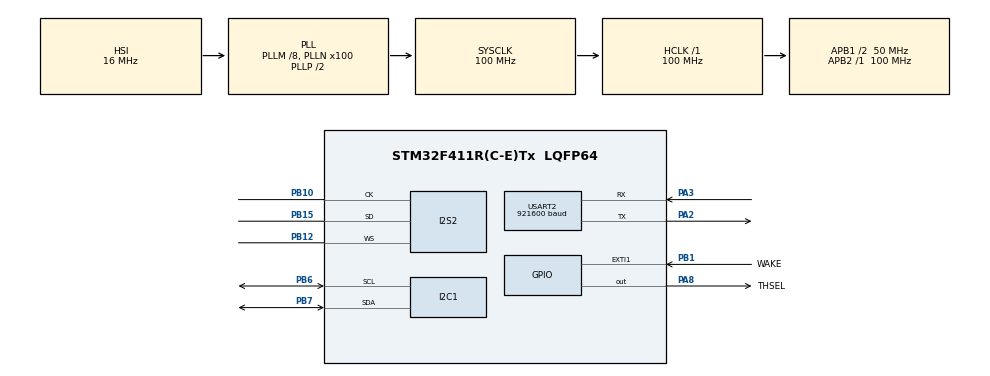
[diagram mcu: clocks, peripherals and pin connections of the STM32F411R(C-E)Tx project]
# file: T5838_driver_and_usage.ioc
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Dma.Request0=SPI2_RX
Dma.Request1=USART2_TX
Dma.SPI2_RX.0.Direction=DMA_PERIPH_TO_MEMORY
Dma.SPI2_RX.0.FIFOMode=DMA_FIFOMODE_DISABLE
Dma.SPI2_RX.0.Instance=DMA1_Stream3
Dma.SPI2_RX.0.MemDataAlignment=DMA_MDATAALIGN_HALFWORD
Dma.SPI2_RX.0.MemInc=DMA_MINC_ENABLE
Dma.SPI2_RX.0.Mode=DMA_CIRCULAR
Dma.SPI2_RX.0.PeriphDataAlignment=DMA_PDATAALIGN_HALFWORD
Dma.SPI2_RX.0.PeriphInc=DMA_PINC_DISABLE
Dma.SPI2_RX.0.Priority=DMA_PRIORITY_LOW
Dma.USART2_TX.1.Direction=DMA_MEMORY_TO_PERIPH
Dma.USART2_TX.1.FIFOMode=DMA_FIFOMODE_DISABLE
Dma.USART2_TX.1.Instance=DMA1_Stream6
Dma.USART2_TX.1.MemDataAlignment=DMA_MDATAALIGN_BYTE
Dma.USART2_TX.1.MemInc=DMA_MINC_ENABLE
Dma.USART2_TX.1.Mode=DMA_NORMAL
Dma.USART2_TX.1.PeriphDataAlignment=DMA_PDATAALIGN_BYTE
Dma.USART2_TX.1.PeriphInc=DMA_PINC_DISABLE
Dma.USART2_TX.1.Priority=DMA_PRIORITY_LOW
I2S2.ErrorAudioFreq=0.0 %
I2S2.FullDuplexMode=I2S_FULLDUPLEXMODE_DISABLE
I2S2.Instance=SPI$Index
I2S2.Mode=I2S_MODE_MASTER_RX
I2S2.RealAudioFreq=8.0 KHz
I2S2.VirtualMode=I2S_MODE_MASTER
Mcu.Family=STM32F4
Mcu.Name=STM32F411R(C-E)Tx
Mcu.Package=LQFP64
NVIC.DMA1_Stream3_IRQn=true\:0\:0\:false\:false\:true\:false\:true\:true
NVIC.DMA1_Stream6_IRQn=true\:0\:0\:false\:false\:true\:false\:true\:true
NVIC.EXTI1_IRQn=true\:0\:0\:false\:false\:true\:true\:true\:true
NVIC.PriorityGroup=NVIC_PRIORITYGROUP_4
PA13.Mode=Serial_Wire
PA13.Signal=SYS_JTMS-SWDIO
PA14.Mode=Serial_Wire
PA14.Signal=SYS_JTCK-SWCLK
PA2.Mode=Asynchronous
PA2.Signal=USART2_TX
PA3.Mode=Asynchronous
PA3.Signal=USART2_RX
PA8.GPIO_Label=THSEL
PA8.Signal=GPIO_Output
PB1.GPIO_Label=WAKE
PB1.GPIO_PuPd=GPIO_PULLDOWN
PB1.Signal=GPXTI1
PB10.Mode=Half_Duplex_Master
PB10.Signal=I2S2_CK
PB12.Mode=Half_Duplex_Master
PB12.Signal=I2S2_WS
PB15.Mode=Half_Duplex_Master
PB15.Signal=I2S2_SD
PB6.Mode=I2C
PB6.Signal=I2C1_SCL
PB7.Mode=I2C
PB7.Signal=I2C1_SDA
ProjectManager.HeapSize=0x200
ProjectManager.StackSize=0x400
ProjectManager.TargetToolchain=STM32CubeIDE
RCC.48MHZClocksFreq_Value=50000000
RCC.AHBFreq_Value=100000000
RCC.APB1CLKDivider=RCC_HCLK_DIV2
RCC.APB1Freq_Value=50000000
RCC.APB1TimFreq_Value=100000000
RCC.APB2Freq_Value=100000000
RCC.APB2TimFreq_Value=100000000
RCC.CortexFreq_Value=100000000
RCC.HCLKFreq_Value=100000000
RCC.HSE_VALUE=25000000
RCC.HSI_VALUE=16000000
RCC.LSE_VALUE=32768
RCC.PLLM=8
RCC.PLLN=100
RCC.SYSCLKFreq_VALUE=100000000
RCC.SYSCLKSource=RCC_SYSCLKSOURCE_PLLCLK
RCC.VCOOutputFreq_Value=200000000
USART2.BaudRate=921600
USART2.VirtualMode=VM_ASYNC
board=custom

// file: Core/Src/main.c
/* USER CODE BEGIN Header */
/**
  ******************************************************************************
  * @file           : main.c
  * @brief          : Main program body
  ******************************************************************************
  * @attention
  *
  * Copyright (c) 2026 STMicroelectronics.
  * All rights reserved.
  *
  * This software is licensed under terms that can be found in the LICENSE file
  * in the root directory of this software component.
  * If no LICENSE file comes with this software, it is provided AS-IS.
  *
  ******************************************************************************
  */
/* USER CODE END Header */
#include "main.h"

/* USER CODE BEGIN Includes */
#include"t5838.h"
#include "stm32f4xx_hal_i2s.h"
#include<stdio.h>
/* USER CODE END Includes */

I2C_HandleTypeDef hi2c1;

I2S_HandleTypeDef hi2s2;
DMA_HandleTypeDef hdma_spi2_rx;

UART_HandleTypeDef huart2;
DMA_HandleTypeDef hdma_usart2_tx;

/* USER CODE BEGIN PV */
T5838_HandleTypeDef hmic1;
volatile uint8_t wake_up_flag = 0;

/* USER CODE END PV */

void SystemClock_Config(void);
static void MX_GPIO_Init(void);
static void MX_DMA_Init(void);
static void MX_I2C1_Init(void);
static void MX_I2S2_Init(void);
static void MX_USART2_UART_Init(void);
/* USER CODE BEGIN PFP */
static void I2S_PLL_Config(void);
/* USER CODE END PFP */

/* USER CODE BEGIN 0 */
extern I2S_HandleTypeDef hi2s2;
extern UART_HandleTypeDef huart2;

int __io_putchar(int ch) {
    HAL_UART_Transmit(&huart2, (uint8_t *)&ch, 1, HAL_MAX_DELAY);
    return ch;
}

/* USER CODE END 0 */

int main(void)
{

  /* MCU Configuration--------------------------------------------------------*/

  /* Reset of all peripherals, Initializes the Flash interface and the Systick. */
  HAL_Init();

  /* Configure the system clock */
  SystemClock_Config();

  /* Initialize all configured peripherals */
  MX_GPIO_Init();
  MX_DMA_Init();
  MX_I2C1_Init();
  MX_I2S2_Init();
  MX_USART2_UART_Init();
  /* USER CODE BEGIN 2 */
  I2S_PLL_Config();   // PLLI2S: 2 MHz * 96 / 4 = 48 MHz catre SPI2

  printf("\r\n=========================================\r\n");
  printf("   Init T5838 PDM Microphone Driver      \r\n");
  printf("=========================================\r\n");

  if (T5838_Init(&hmic1, &hi2s2, &huart2) != HAL_OK) {
      printf("[EROARE] Configurarea T5838 a esuat (continui, pentru test captura)\r\n");
      hmic1.is_initialized = 1;   // permite testul de captura chiar fara ACK
  }

  #define T5838_BOOT_TEST  1      // 1 = forteaza o captura la boot
  #if T5838_BOOT_TEST
  wake_up_flag = 1;
  #endif

  /* USER CODE END 2 */

  /* Infinite loop */
  /* USER CODE BEGIN WHILE */
  while (1)
  {
      if (wake_up_flag) {
          wake_up_flag = 0;
          printf("\r\n[WAKE] Pornire captura PDM...\r\n");

          HAL_StatusTypeDef st = T5838_StartCapture(&hmic1);
          if (st != HAL_OK) {
              printf("[DMA ERROR] cod: %d\r\n", (int)st);
          } else {
              uint32_t t0 = HAL_GetTick();
              while (HAL_GetTick() - t0 < 5000U) T5838_FlushUart(&hmic1);
              T5838_StopRecording(&hmic1);
              while (huart2.gState != HAL_UART_STATE_READY) {}
              printf("\r\n[SLEEP] Captura gata (overrun ring: %lu). AAD D2 reactivat.\r\n",
                     (unsigned long)hmic1.ring_overruns);
          }
          wake_up_flag = 0;    // ignora wake-urile aparute in timpul capturii
      }
      HAL_Delay(10);
    /* USER CODE END WHILE */

  }
}

void SystemClock_Config(void)
{
  RCC_OscInitTypeDef RCC_OscInitStruct = {0};
  RCC_ClkInitTypeDef RCC_ClkInitStruct = {0};

  /** Configure the main internal regulator output voltage
  */
  __HAL_RCC_PWR_CLK_ENABLE();
  __HAL_PWR_VOLTAGESCALING_CONFIG(PWR_REGULATOR_VOLTAGE_SCALE1);

  /** Initializes the RCC Oscillators according to the specified parameters
  * in the RCC_OscInitTypeDef structure.
  */
  RCC_OscInitStruct.OscillatorType = RCC_OSCILLATORTYPE_HSI;
  RCC_OscInitStruct.HSIState = RCC_HSI_ON;
  RCC_OscInitStruct.HSICalibrationValue = RCC_HSICALIBRATION_DEFAULT;
  RCC_OscInitStruct.PLL.PLLState = RCC_PLL_ON;
  RCC_OscInitStruct.PLL.PLLSource = RCC_PLLSOURCE_HSI;
  RCC_OscInitStruct.PLL.PLLM = 8;
  RCC_OscInitStruct.PLL.PLLN = 100;
  RCC_OscInitStruct.PLL.PLLP = RCC_PLLP_DIV2;
  RCC_OscInitStruct.PLL.PLLQ = 4;
  if (HAL_RCC_OscConfig(&RCC_OscInitStruct) != HAL_OK)
  {
    Error_Handler();
  }

  /** Initializes the CPU, AHB and APB buses clocks
  */
  RCC_ClkInitStruct.ClockType = RCC_CLOCKTYPE_HCLK|RCC_CLOCKTYPE_SYSCLK
                              |RCC_CLOCKTYPE_PCLK1|RCC_CLOCKTYPE_PCLK2;
  RCC_ClkInitStruct.SYSCLKSource = RCC_SYSCLKSOURCE_PLLCLK;
  RCC_ClkInitStruct.AHBCLKDivider = RCC_SYSCLK_DIV1;
  RCC_ClkInitStruct.APB1CLKDivider = RCC_HCLK_DIV2;
  RCC_ClkInitStruct.APB2CLKDivider = RCC_HCLK_DIV1;

  if (HAL_RCC_ClockConfig(&RCC_ClkInitStruct, FLASH_LATENCY_3) != HAL_OK)
  {
    Error_Handler();
  }
}

static void MX_I2C1_Init(void)
{

  hi2c1.Instance = I2C1;
  hi2c1.Init.ClockSpeed = 100000;
  hi2c1.Init.DutyCycle = I2C_DUTYCYCLE_2;
  hi2c1.Init.OwnAddress1 = 0;
  hi2c1.Init.AddressingMode = I2C_ADDRESSINGMODE_7BIT;
  hi2c1.Init.DualAddressMode = I2C_DUALADDRESS_DISABLE;
  hi2c1.Init.OwnAddress2 = 0;
  hi2c1.Init.GeneralCallMode = I2C_GENERALCALL_DISABLE;
  hi2c1.Init.NoStretchMode = I2C_NOSTRETCH_DISABLE;
  if (HAL_I2C_Init(&hi2c1) != HAL_OK)
  {
    Error_Handler();
  }

}

static void MX_I2S2_Init(void)
{

  hi2s2.Instance = SPI2;
  hi2s2.Init.Mode = I2S_MODE_MASTER_RX;
  hi2s2.Init.Standard = I2S_STANDARD_PHILIPS;
  hi2s2.Init.DataFormat = I2S_DATAFORMAT_16B;
  hi2s2.Init.MCLKOutput = I2S_MCLKOUTPUT_DISABLE;
  hi2s2.Init.AudioFreq = I2S_AUDIOFREQ_8K;
  hi2s2.Init.CPOL = I2S_CPOL_LOW;
  hi2s2.Init.ClockSource = I2S_CLOCK_PLL;
  hi2s2.Init.FullDuplexMode = I2S_FULLDUPLEXMODE_DISABLE;
  if (HAL_I2S_Init(&hi2s2) != HAL_OK)
  {
    Error_Handler();
  }

}

static void MX_USART2_UART_Init(void)
{

  huart2.Instance = USART2;
  huart2.Init.BaudRate = 921600;
  huart2.Init.WordLength = UART_WORDLENGTH_8B;
  huart2.Init.StopBits = UART_STOPBITS_1;
  huart2.Init.Parity = UART_PARITY_NONE;
  huart2.Init.Mode = UART_MODE_TX_RX;
  huart2.Init.HwFlowCtl = UART_HWCONTROL_NONE;
  huart2.Init.OverSampling = UART_OVERSAMPLING_16;
  if (HAL_UART_Init(&huart2) != HAL_OK)
  {
    Error_Handler();
  }

}

static void MX_DMA_Init(void)
{

  /* DMA controller clock enable */
  __HAL_RCC_DMA1_CLK_ENABLE();

  /* DMA interrupt init */
  /* DMA1_Stream3_IRQn interrupt configuration */
  HAL_NVIC_SetPriority(DMA1_Stream3_IRQn, 0, 0);
  HAL_NVIC_EnableIRQ(DMA1_Stream3_IRQn);
  /* DMA1_Stream6_IRQn interrupt configuration */
  HAL_NVIC_SetPriority(DMA1_Stream6_IRQn, 0, 0);
  HAL_NVIC_EnableIRQ(DMA1_Stream6_IRQn);

}

static void MX_GPIO_Init(void)
{
  GPIO_InitTypeDef GPIO_InitStruct = {0};

  /* GPIO Ports Clock Enable */
  __HAL_RCC_GPIOA_CLK_ENABLE();
  __HAL_RCC_GPIOB_CLK_ENABLE();

  /*Configure GPIO pin Output Level */
  HAL_GPIO_WritePin(THSEL_GPIO_Port, THSEL_Pin, GPIO_PIN_RESET);

  /*Configure GPIO pin : WAKE_Pin */
  GPIO_InitStruct.Pin = WAKE_Pin;
  GPIO_InitStruct.Mode = GPIO_MODE_IT_RISING;
  GPIO_InitStruct.Pull = GPIO_PULLDOWN;
  HAL_GPIO_Init(WAKE_GPIO_Port, &GPIO_InitStruct);

  /*Configure GPIO pin : THSEL_Pin */
  GPIO_InitStruct.Pin = THSEL_Pin;
  GPIO_InitStruct.Mode = GPIO_MODE_OUTPUT_PP;
  GPIO_InitStruct.Pull = GPIO_NOPULL;
  GPIO_InitStruct.Speed = GPIO_SPEED_FREQ_LOW;
  HAL_GPIO_Init(THSEL_GPIO_Port, &GPIO_InitStruct);

  /* EXTI interrupt init*/
  HAL_NVIC_SetPriority(EXTI1_IRQn, 0, 0);
  HAL_NVIC_EnableIRQ(EXTI1_IRQn);

}

/* USER CODE BEGIN 4 */
void HAL_GPIO_EXTI_Callback(uint16_t GPIO_Pin) {
    if (GPIO_Pin == T5838_WAKE_PIN) {
        if (t5838_expect_ack) t5838_ack_seen = 1;   // pulsul ACK de la enable
        else                  wake_up_flag = 1;     // eveniment AAD
    }
}

void HAL_I2S_RxHalfCpltCallback(I2S_HandleTypeDef *hi2s) {
    if (hi2s->Instance == SPI2)
        T5838_ProcessAudioBlock(&hmic1, &hmic1.pdm_buffer[0], T5838_PDM_BUF_SIZE / 2);
}

void HAL_I2S_RxCpltCallback(I2S_HandleTypeDef *hi2s) {
    if (hi2s->Instance == SPI2)
        T5838_ProcessAudioBlock(&hmic1, &hmic1.pdm_buffer[T5838_PDM_BUF_SIZE / 2], T5838_PDM_BUF_SIZE / 2);
}

static void I2S_PLL_Config(void)
{
    RCC_PeriphCLKInitTypeDef pc = {0};
    pc.PeriphClockSelection = RCC_PERIPHCLK_I2S;
    pc.PLLI2S.PLLI2SM = 8;     // HSI 16 MHz / 8 = 2 MHz
    pc.PLLI2S.PLLI2SN = 96;    // VCO 192 MHz
    pc.PLLI2S.PLLI2SR = 4;     // 48 MHz
    if (HAL_RCCEx_PeriphCLKConfig(&pc) != HAL_OK) Error_Handler();
}
/* USER CODE END 4 */

void Error_Handler(void)
{
  __disable_irq();
  while (1)
  {
  }
}
